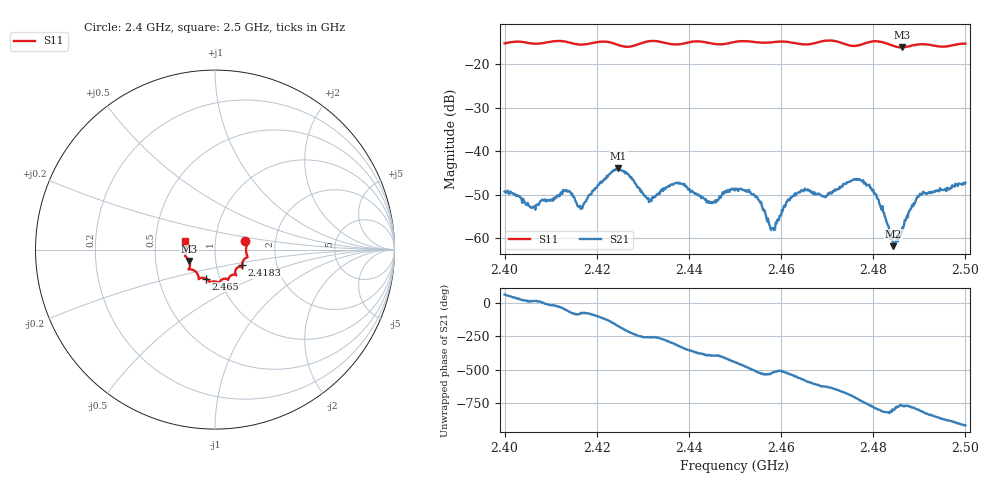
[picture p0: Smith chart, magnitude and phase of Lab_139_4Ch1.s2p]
# Hz S RI R 50
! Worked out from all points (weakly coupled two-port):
!   601 points, 2.4 GHz to 2.5 GHz, reference 50 ohm
!   highest |S21| = -43.92 dB at 2.4247 GHz (marker M1); lowest = -61.8 dB at 2.4843 GHz (marker M2)
!   lowest |S11| = -16.1 dB at 2.4862 GHz (marker M3), VSWR 1.37, Z = 37.2 - j4.81 ohm
!   |S11| at or under -10 dB: start of sweep to end of sweep
!   S12 and S22 are empty: the file has one direction only
!   S11 on the Smith chart (normalised r, x): 2.4 GHz: 1.40, +0.13; 2.4183 GHz: 1.33, -0.24; 2.465 GHz: 0.86, -0.28; 2.5 GHz: 0.71, +0.07
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2.4e9  0.1684 0.0465  0.00154 0.0031  0 0  0 0
2.406167e9  0.1731 0.00687  0.00223 0.000568  0 0  0 0
2.413667e9  0.1747 -0.0452  0.00182 -0.00292  0 0  0 0
2.416667e9  0.1547 -0.0676  0.000669 -0.00221  0 0  0 0
2.418333e9  0.1499 -0.0865  0.000576 -0.0031  0 0  0 0
2.424667e9  0.1375 -0.0952  -0.00632 -0.000754  0 0  0 0
2.431333e9  0.1174 -0.1427  -0.000632 0.00254  0 0  0 0
2.433333e9  0.1177 -0.1411  -0.000554 0.00315  0 0  0 0
2.437833e9  0.0839 -0.1481  0.0033 0.0027  0 0  0 0
2.444833e9  0.0632 -0.1626  0.00212 -0.00146  0 0  0 0
2.45e9  0.0255 -0.1798  0.000403 -0.00354  0 0  0 0
2.4545e9  0.0115 -0.1799  -0.0026 -0.00144  0 0  0 0
2.458167e9  -0.0185 -0.179  -0.00122 -0.000435  0 0  0 0
2.465e9  -0.0526 -0.1613  -0.00287 0.00216  0 0  0 0
2.466667e9  -0.0711 -0.1571  -0.00168 0.00289  0 0  0 0
2.477333e9  -0.1255 -0.1124  0.00456 -0.000949  0 0  0 0
2.4805e9  -0.1479 -0.1106  0.00125 -0.00293  0 0  0 0
2.483333e9  -0.1409 -0.0968  -0.000131 -0.00136  0 0  0 0
2.484333e9  -0.1394 -0.0855  0.000151 -0.0008  0 0  0 0
2.486167e9  -0.1435 -0.0631  0.000789 -0.000845  0 0  0 0
2.4905e9  -0.167 -0.0353  -6.81e-05 -0.00316  0 0  0 0
2.5e9  -0.1668 0.047  -0.00421 0.00117  0 0  0 0
